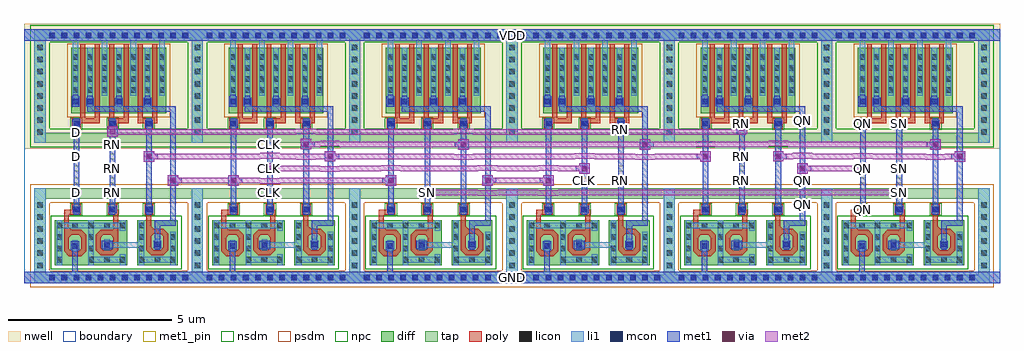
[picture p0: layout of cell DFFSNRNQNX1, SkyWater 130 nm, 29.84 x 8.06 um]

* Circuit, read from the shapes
.subckt DFFSNRNQNX1 CLK D GND QN RN SN VDD
XM1 n1 D GND GND sky130_fd_pr__nfet_01v8 w=2.6 l=0.147
XM2 n1 RN n2 GND sky130_fd_pr__nfet_01v8 w=2.52 l=0.1481
XM3 n2 n3 n4 GND sky130_fd_pr__nfet_01v8 w=2.56 l=0.1466
XM4 n5 n4 GND GND sky130_fd_pr__nfet_01v8 w=2.6 l=0.148
XM5 n5 CLK n6 GND sky130_fd_pr__nfet_01v8 w=2.52 l=0.1477
XM6 n6 n7 n3 GND sky130_fd_pr__nfet_01v8 w=2.56 l=0.1467
XM7 n8 n4 GND GND sky130_fd_pr__nfet_01v8 w=2.6 l=0.1474
XM8 n8 SN n9 GND sky130_fd_pr__nfet_01v8 w=2.52 l=0.1481
XM9 n9 n7 n10 GND sky130_fd_pr__nfet_01v8 w=2.56 l=0.1466
XM10 n11 n10 GND GND sky130_fd_pr__nfet_01v8 w=2.6 l=0.1474
XM11 n11 CLK n12 GND sky130_fd_pr__nfet_01v8 w=2.52 l=0.1476
XM12 n12 RN n7 GND sky130_fd_pr__nfet_01v8 w=2.56 l=0.1466
XM13 n13 n3 GND GND sky130_fd_pr__nfet_01v8 w=2.6 l=0.1473
XM14 n13 RN n14 GND sky130_fd_pr__nfet_01v8 w=2.52 l=0.1481
XM15 n14 n15 QN GND sky130_fd_pr__nfet_01v8 w=2.56 l=0.1466
XM16 n16 QN GND GND sky130_fd_pr__nfet_01v8 w=2.6 l=0.1474
XM17 n16 SN n17 GND sky130_fd_pr__nfet_01v8 w=2.52 l=0.148
XM18 n17 n7 n15 GND sky130_fd_pr__nfet_01v8 w=2.56 l=0.1466
XM19 n4 D VDD VDD sky130_fd_pr__pfet_01v8 w=2 l=0.15 m=2
XM20 n4 RN VDD VDD sky130_fd_pr__pfet_01v8 w=2 l=0.15 m=2
XM21 n4 n3 VDD VDD sky130_fd_pr__pfet_01v8 w=2 l=0.15 m=2
XM22 n3 n4 VDD VDD sky130_fd_pr__pfet_01v8 w=2 l=0.15 m=2
XM23 n3 CLK VDD VDD sky130_fd_pr__pfet_01v8 w=2 l=0.15 m=2
XM24 n3 n7 VDD VDD sky130_fd_pr__pfet_01v8 w=2 l=0.15 m=2
XM25 n10 n4 VDD VDD sky130_fd_pr__pfet_01v8 w=2 l=0.15 m=2
XM26 n10 SN VDD VDD sky130_fd_pr__pfet_01v8 w=2 l=0.15 m=2
XM27 n10 n7 VDD VDD sky130_fd_pr__pfet_01v8 w=2 l=0.15 m=2
XM28 n7 n10 VDD VDD sky130_fd_pr__pfet_01v8 w=2 l=0.15 m=2
XM29 n7 CLK VDD VDD sky130_fd_pr__pfet_01v8 w=2 l=0.15 m=2
XM30 n7 RN VDD VDD sky130_fd_pr__pfet_01v8 w=2 l=0.15 m=2
XM31 QN n3 VDD VDD sky130_fd_pr__pfet_01v8 w=2 l=0.15 m=2
XM32 QN RN VDD VDD sky130_fd_pr__pfet_01v8 w=2 l=0.15 m=2
XM33 QN n15 VDD VDD sky130_fd_pr__pfet_01v8 w=2 l=0.15 m=2
XM34 n15 QN VDD VDD sky130_fd_pr__pfet_01v8 w=2 l=0.15 m=2
XM35 n15 SN VDD VDD sky130_fd_pr__pfet_01v8 w=2 l=0.15 m=2
XM36 n15 n7 VDD VDD sky130_fd_pr__pfet_01v8 w=2 l=0.15 m=2
.ends

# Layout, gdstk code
from math import pi, radians
import gdstk
lib = gdstk.Library(unit=1e-6, precision=1e-09)
def R(c, l, rs):  # rectangles x0, y0, x1, y1
    for r in rs: c.add(gdstk.rectangle(r[:2], r[2:], *l))
def A(c, l, x, y, w, h, nx, ny, dx, dy):  # array of equal rectangles
    R(c, l, [(x+i*dx, y+j*dy, x+i*dx+w, y+j*dy+h) for i in range(nx) for j in range(ny)])
def P(c, l, *ps):  # polygons
    for p in ps: c.add(gdstk.Polygon(p, *l))
nwell = (64, 20)
diff = (65, 20)
tap = (65, 44)
poly = (66, 20)
licon = (66, 44)
li1 = (67, 20)
mcon = (67, 44)
met1_pin = (68, 16)
met1 = (68, 20)
via = (68, 44)
met2 = (69, 20)
nsdm = (93, 44)
psdm = (94, 20)
npc = (95, 20)
boundary = (235, 4)

li1_m1_contact = lib.new_cell('li1_M1_contact')
R(li1_m1_contact, li1, [(-0.085,-0.165,0.085,0.165)])
R(li1_m1_contact, mcon, [(-0.085,-0.085,0.085,0.085)])
R(li1_m1_contact, met1, [(-0.115,-0.115,0.115,-0.085), (-0.265,-0.085,0.145,0.085), (-0.115,0.085,0.115,0.115)])

diff_ring_side = lib.new_cell('diff_ring_side')
R(diff_ring_side, nwell, [(-0.435,3.93,0.435,7.75)])
R(diff_ring_side, tap, [(-0.17,-0.17,0.17,2.72), (-0.17,4.11,0.17,7.57)])
A(diff_ring_side, licon, -0.085, 0.285, 0.17, 0.17, 1, 6, 0, 0.37)
A(diff_ring_side, licon, -0.085, 4.355, 0.17, 0.17, 1, 8, 0, 0.37)
R(diff_ring_side, li1, [(-0.17,-0.17,0.17,2.72), (-0.17,4.11,0.17,7.57)])
R(diff_ring_side, met1, [(-0.17,-0.17,0.17,0.17), (-0.17,7.23,0.17,7.57)])
R(diff_ring_side, nsdm, [(-0.295,3.985,0.295,7.695)])
R(diff_ring_side, psdm, [(-0.295,-0.295,0.295,2.845)])

nmos_bottom = lib.new_cell('nmos_bottom')
R(nmos_bottom, diff, [(0,0,1.24,1.38)])
R(nmos_bottom, poly, [(0.43,0.27,0.81,0.42), (0.28,0.42,0.43,0.925), (0.81,0.42,0.96,0.925), (0.43,0.925,0.96,1.075), (0.81,1.075,0.96,1.51)])
P(nmos_bottom, poly, [(0.73,1.075),(0.81,1.075),(0.81,1.155)],
  [(0.28,0.925),(0.43,0.925),(0.43,1.075)],
  [(0.43,0.845),(0.43,0.925),(0.51,0.925)],
  [(0.73,0.925),(0.81,0.925),(0.81,0.845)],
  [(0.43,0.5),(0.43,0.42),(0.51,0.42)],
  [(0.73,0.42),(0.81,0.42),(0.81,0.5)],
  [(0.28,0.42),(0.43,0.42),(0.43,0.27)],
  [(0.81,0.27),(0.81,0.42),(0.96,0.42)])
A(nmos_bottom, licon, 0.05, 1.13, 0.17, 0.17, 3, 1, 0.485, 0)
R(nmos_bottom, licon, [(0.05,0.08,0.22,0.25), (1.02,0.08,1.19,0.25), (0.05,0.43,0.22,0.6), (1.02,0.43,1.19,0.6), (0.535,0.505,0.705,0.675), (0.05,0.77,0.22,0.94), (1.02,0.77,1.19,0.94)])
R(nmos_bottom, li1, [(0.05,0,0.22,1.13), (1.02,0,1.19,1.13), (0.535,0.425,0.705,0.755), (0.05,1.13,1.19,1.3), (0.05,1.3,0.22,1.38), (1.02,1.3,1.19,1.38)])
R(nmos_bottom, nsdm, [(-0.125,-0.125,1.365,1.505)])

pmos2 = lib.new_cell('pmos2')
R(pmos2, nwell, [(0.26,-2.18,1.76,0.18)])
R(pmos2, diff, [(0.44,-2,1.58,0)])
R(pmos2, poly, [(0.72,-2.305,1.31,-2.155), (0.72,-2.155,0.87,0.13), (1.16,-2.155,1.31,0.13)])
A(pmos2, licon, 0.49, -1.38, 0.17, 0.17, 3, 4, 0.44, 0.34)
R(pmos2, li1, [(0.49,-1.465,0.66,0.21), (0.93,-1.465,1.1,0), (1.37,-1.465,1.54,0.21)])
R(pmos2, psdm, [(0.315,-2.125,1.705,0.125)])

poly_li1_contact = lib.new_cell('poly_li1_contact')
R(poly_li1_contact, poly, [(-0.16,-0.14,0.17,0.13)])
R(poly_li1_contact, licon, [(-0.08,-0.09,0.09,0.08)])
R(poly_li1_contact, li1, [(-0.16,-0.09,0.17,0.08)])
R(poly_li1_contact, npc, [(-0.18,-0.19,0.19,0.18)])

nmos_side_left = lib.new_cell('nmos_side_left')
R(nmos_side_left, diff, [(0,0,1.24,1.38)])
R(nmos_side_left, poly, [(0.435,0.305,0.81,0.455), (0.285,0.455,0.435,0.925), (0.81,0.455,0.96,0.925), (0.435,0.925,0.96,1.075), (0.81,1.075,0.96,1.51)])
P(nmos_side_left, poly, [(0.285,0.925),(0.435,0.925),(0.435,1.075)],
  [(0.435,0.845),(0.435,0.925),(0.515,0.925)],
  [(0.73,0.925),(0.81,0.925),(0.81,0.845)],
  [(0.435,0.535),(0.435,0.455),(0.515,0.455)],
  [(0.73,0.455),(0.81,0.455),(0.81,0.535)],
  [(0.285,0.455),(0.435,0.455),(0.435,0.305)],
  [(0.81,0.305),(0.81,0.455),(0.96,0.455)])
A(nmos_side_left, licon, 0.05, 0.08, 0.17, 0.17, 3, 2, 0.485, 1.05)
R(nmos_side_left, licon, [(0.05,0.43,0.22,0.6), (0.54,0.535,0.71,0.705), (0.05,0.77,0.22,0.94)])
R(nmos_side_left, li1, [(0.05,0,0.22,0.08), (1.02,0,1.19,0.08), (0.05,0.08,1.19,0.25), (0.05,0.25,0.22,1.13), (1.02,0.25,1.19,0.33), (0.54,0.455,0.71,0.785), (1.02,1.05,1.19,1.13), (0.05,1.13,1.19,1.3), (0.05,1.3,0.22,1.38), (1.02,1.3,1.19,1.38)])
R(nmos_side_left, nsdm, [(-0.125,-0.125,1.365,1.505)])

nmos_top_trim1 = lib.new_cell('nmos_top_trim1')
R(nmos_top_trim1, diff, [(0,0,1.24,1.38)])
R(nmos_top_trim1, poly, [(0.43,0.31,0.81,0.46), (0.28,0.46,0.43,0.965), (0.81,0.46,0.96,0.965), (0.43,0.965,0.96,1.115), (0.81,1.115,0.96,1.545)])
P(nmos_top_trim1, poly, [(0.73,1.115),(0.81,1.115),(0.81,1.195)],
  [(0.28,0.965),(0.43,0.965),(0.43,1.115)],
  [(0.43,0.885),(0.43,0.965),(0.51,0.965)],
  [(0.73,0.965),(0.81,0.965),(0.81,0.885)],
  [(0.43,0.54),(0.43,0.46),(0.51,0.46)],
  [(0.73,0.46),(0.81,0.46),(0.81,0.54)],
  [(0.28,0.46),(0.43,0.46),(0.43,0.31)],
  [(0.81,0.31),(0.81,0.46),(0.96,0.46)])
A(nmos_top_trim1, licon, 0.05, 0.08, 0.17, 0.17, 3, 1, 0.485, 0)
R(nmos_top_trim1, licon, [(0.05,0.43,0.22,0.6), (1.02,0.43,1.19,0.6), (0.535,0.55,0.705,0.72), (0.05,0.77,0.22,0.94), (1.02,0.77,1.19,0.94), (1.02,1.13,1.19,1.3)])
R(nmos_top_trim1, li1, [(0.05,0,0.22,0.08), (1.02,0,1.19,0.08), (0.05,0.08,1.19,0.25), (0.05,0.25,0.22,1.02), (1.02,0.25,1.19,1.38), (0.535,0.47,0.705,0.805)])
R(nmos_top_trim1, nsdm, [(-0.125,-0.125,1.365,1.505)])

nand3x1_pcell = lib.new_cell('nand3x1_pcell')
R(nand3x1_pcell, nwell, [(0.435,3.93,4.375,5.28), (0.435,5.28,1.1,5.295), (1.395,5.28,4.375,5.495), (0.435,5.295,1.025,5.465), (1.145,5.295,1.315,5.465), (0.435,5.465,1.1,5.495), (0.435,5.495,4.375,7.75)])
A(nand3x1_pcell, diff, 1.445, 5.295, 0.17, 0.17, 3, 1, 0.88, 0)
R(nand3x1_pcell, diff, [(1.005,5.295,1.175,5.465)])
R(nand3x1_pcell, tap, [(0.17,-0.17,4.64,0.085), (0.17,2.41,4.64,2.72), (0.17,4.11,4.64,4.42), (0.17,7.315,4.64,7.57)])
R(nand3x1_pcell, poly, [(0.735,1.885,0.885,1.915), (2.235,1.885,2.385,1.915), (0.735,1.915,0.975,2.065), (2.355,1.915,2.385,2.065)])
A(nand3x1_pcell, licon, 0.285, -0.085, 0.17, 0.17, 12, 2, 0.37, 7.4)
A(nand3x1_pcell, licon, 1.445, 5.295, 0.17, 0.17, 3, 1, 0.88, 0)
R(nand3x1_pcell, licon, [(1.005,5.295,1.175,5.465)])
A(nand3x1_pcell, li1, 1.025, 1.995, 0.17, 0.17, 3, 2, 1.11, 2.62)
R(nand3x1_pcell, li1, [(0.17,-0.17,4.65,0.17), (0.99,0.88,1.16,1.05), (1.965,0.91,3.015,1.08), (3.5,0.925,3.67,1.095), (1.005,5.215,1.175,5.6), (1.445,5.215,1.615,5.56), (2.325,5.215,2.495,5.585), (3.205,5.215,3.375,5.56), (0.07,7.23,4.715,7.57)])
A(nand3x1_pcell, mcon, 0.285, -0.085, 0.17, 0.17, 12, 2, 0.37, 7.4)
A(nand3x1_pcell, mcon, 1.025, 1.995, 0.17, 0.17, 3, 2, 1.11, 2.62)
A(nand3x1_pcell, mcon, 1.445, 5.295, 0.17, 0.17, 3, 1, 0.88, 0)
R(nand3x1_pcell, mcon, [(0.99,0.88,1.16,1.05), (1.965,0.91,2.135,1.08), (3.5,0.925,3.67,1.095), (1.005,5.295,1.175,5.465)])
A(nand3x1_pcell, met1, 1.025, 1.915, 0.17, 0.04, 3, 1, 1.11, 0)
A(nand3x1_pcell, met1, 1.445, 5.495, 0.17, 0.06, 3, 1, 0.88, 0)
R(nand3x1_pcell, met1, [(0.17,-0.17,4.64,0.17), (0.99,0.17,1.16,0.835), (0.945,0.835,1.205,1.11), (1.89,0.865,2.225,1.115), (3.5,0.865,3.67,0.895), (3.47,0.895,3.7,1.125), (3.5,1.125,3.67,1.58), (3.5,1.58,4.155,1.75), (3.985,1.75,4.155,5.07), (0.995,1.955,1.225,2.195), (2.105,1.955,2.34,2.195), (3.215,1.955,3.445,2.195), (1.025,2.195,1.195,4.575), (2.135,2.195,2.305,4.585), (3.245,2.195,3.415,4.57), (3.215,4.57,3.445,4.815), (0.99,4.575,1.23,4.835), (2.105,4.585,2.335,4.815), (2.135,4.815,2.305,4.845), (3.245,4.815,3.415,4.845), (1.025,4.835,1.195,4.845), (1.445,5.07,4.155,5.24), (0.965,5.215,1.205,5.535), (1.415,5.24,1.65,5.495), (2.29,5.24,2.53,5.495), (3.175,5.24,3.405,5.495), (1.005,5.535,1.175,5.58), (0.17,7.23,4.64,7.57)])
R(nand3x1_pcell, nsdm, [(2.79,0.25,2.84,1.88), (0.045,3.985,4.765,4.545), (0.045,7.19,4.765,7.695)])
R(nand3x1_pcell, psdm, [(0.045,-0.295,4.765,0.21), (0.045,2.285,4.765,2.845), (0.88,5.17,1.74,5.59), (2.2,5.17,2.62,5.59), (3.08,5.17,3.5,5.59)])
nand3x1_pcell.add(gdstk.Reference(diff_ring_side, (0,0)))
nand3x1_pcell.add(gdstk.Reference(nmos_bottom, (1.695,0.375), rotation=pi, x_reflection=True))
nand3x1_pcell.add(gdstk.Reference(pmos2, (0.515,7.02)))
nand3x1_pcell.add(gdstk.Reference(poly_li1_contact, (1.115,4.705), rotation=3*pi/2))
nand3x1_pcell.add(gdstk.Reference(poly_li1_contact, (1.105,2.075), rotation=pi/2))
nand3x1_pcell.add(gdstk.Reference(nmos_side_left, (1.425,0.375)))
nand3x1_pcell.add(gdstk.Reference(pmos2, (1.395,7.02)))
nand3x1_pcell.add(gdstk.Reference(pmos2, (2.275,7.02)))
nand3x1_pcell.add(gdstk.Reference(poly_li1_contact, (2.215,2.075), rotation=pi/2))
nand3x1_pcell.add(gdstk.Reference(poly_li1_contact, (2.215,4.695), rotation=pi/2))
nand3x1_pcell.add(gdstk.Reference(nmos_top_trim1, (4.205,0.375), rotation=pi, x_reflection=True))
nand3x1_pcell.add(gdstk.Reference(poly_li1_contact, (3.325,2.075), rotation=pi/2))
nand3x1_pcell.add(gdstk.Reference(poly_li1_contact, (3.335,4.705), rotation=3*pi/2))
nand3x1_pcell.add(gdstk.Reference(diff_ring_side, (4.81,0)))

dffsnrnqnx1 = lib.new_cell('DFFSNRNQNX1')
R(dffsnrnqnx1, nwell, [(0,4.11,29.84,4.405), (0,4.405,21.79,4.44), (21.83,4.405,29.84,4.5), (0,4.44,2.94,4.47), (2.96,4.44,21.79,4.445), (2.96,4.445,18.435,4.47), (18.475,4.445,21.79,4.485), (0,4.47,18.435,4.485), (0,4.485,21.79,4.5), (0,4.5,29.84,7.94)])
R(dffsnrnqnx1, tap, [(0.32,0,29.52,0.06), (0.32,7.75,29.52,7.76)])
R(dffsnrnqnx1, li1, [(0,0,29.84,0.35), (0,7.41,29.84,7.76)])
A(dffsnrnqnx1, met1_pin, 1.515, 2.685, 0.17, 0.17, 1, 6, 0, 0.37)
A(dffsnrnqnx1, met1_pin, 2.625, 2.685, 0.17, 0.17, 3, 1, 4.81, 0)
A(dffsnrnqnx1, met1_pin, 26.675, 2.685, 0.17, 0.17, 1, 3, 0, 0.37)
A(dffsnrnqnx1, met1_pin, 2.625, 3.055, 0.17, 0.17, 1, 5, 0, 0.37)
A(dffsnrnqnx1, met1_pin, 21.865, 3.055, 0.17, 0.17, 3, 2, 1.85, 0.37)
R(dffsnrnqnx1, met1_pin, [(0,0,29.84,0.35), (25.565,2.175,25.735,2.345), (23.715,2.315,23.885,2.485), (17.055,3.055,17.225,3.225), (18.165,3.055,18.335,3.225), (7.435,3.425,7.605,3.595), (17.055,3.425,17.225,3.595), (18.165,3.425,18.335,3.595), (21.865,3.795,22.035,3.965), (7.435,4.165,7.605,4.335), (23.715,4.535,23.885,4.705), (18.165,4.615,18.335,4.785), (21.865,4.795,22.035,4.965), (25.565,4.795,25.735,4.965), (26.675,4.795,26.845,4.965), (23.715,4.905,23.885,5.075), (0,7.41,29.84,7.76)])
A(dffsnrnqnx1, met1, 1.515, 2.685, 0.17, 0.17, 1, 6, 0, 0.37)
A(dffsnrnqnx1, met1, 2.625, 2.685, 0.17, 0.17, 1, 5, 0, 0.37)
A(dffsnrnqnx1, met1, 6.25, 2.98, 0.32, 0.32, 3, 1, 4.81, 0)
A(dffsnrnqnx1, met1, 21.865, 3.055, 0.17, 0.17, 3, 1, 1.85, 0)
R(dffsnrnqnx1, met1, [(0,0,29.84,0.35), (23.715,2.315,23.885,2.485), (25.565,2.315,25.735,2.485), (26.6,2.61,26.92,2.93), (12.17,2.615,12.49,2.935), (7.435,2.685,7.605,2.855), (4.4,2.985,4.72,3.305), (14.015,2.985,14.335,3.305), (17.055,3.055,17.225,3.225), (18.165,3.055,18.335,3.225), (16.98,3.345,17.3,3.665), (25.49,3.35,25.81,3.67), (7.36,3.355,7.68,3.675), (23.64,3.355,23.96,3.675), (18.165,3.425,18.335,3.595), (21.865,3.425,22.035,3.595), (3.66,3.72,3.98,4.04), (20.675,3.72,20.995,4.04), (28.45,3.72,28.77,4.04), (9.2,3.725,9.52,4.045), (22.9,3.725,23.22,4.045), (21.865,3.795,22.035,3.965), (18.83,4.085,19.15,4.405), (27.71,4.085,28.03,4.405), (13.28,4.09,13.6,4.41), (8.46,4.095,8.78,4.415), (7.435,4.165,7.605,4.335), (2.55,4.475,2.87,4.795), (21.865,4.535,22.035,4.575), (23.715,4.535,23.885,4.705), (25.565,4.535,25.735,4.705), (18.085,4.565,18.405,4.885), (21.785,4.575,22.105,4.895), (23.715,4.905,23.885,5.075), (0,7.41,29.84,7.76)])
A(dffsnrnqnx1, via, 6.335, 3.065, 0.15, 0.15, 3, 1, 4.81, 0)
R(dffsnrnqnx1, via, [(26.685,2.695,26.835,2.845), (12.255,2.7,12.405,2.85), (4.485,3.07,4.635,3.22), (14.1,3.07,14.25,3.22), (17.065,3.43,17.215,3.58), (25.575,3.435,25.725,3.585), (7.445,3.44,7.595,3.59), (23.725,3.44,23.875,3.59), (3.745,3.805,3.895,3.955), (20.76,3.805,20.91,3.955), (28.535,3.805,28.685,3.955), (9.285,3.81,9.435,3.96), (22.985,3.81,23.135,3.96), (18.915,4.17,19.065,4.32), (27.795,4.17,27.945,4.32), (13.365,4.175,13.515,4.325), (8.545,4.18,8.695,4.33), (2.635,4.56,2.785,4.71), (18.17,4.65,18.32,4.8), (21.87,4.66,22.02,4.81)])
R(dffsnrnqnx1, met2, [(26.6,2.61,26.92,2.685), (12.17,2.615,12.49,2.685), (15.73,2.67,16.33,2.685), (13.875,2.675,14.475,2.685), (12.17,2.685,26.92,2.84), (12.17,2.84,15.73,2.845), (16.33,2.84,26.92,2.855), (12.17,2.845,13.875,2.855), (14.475,2.845,15.73,2.855), (12.17,2.855,12.49,2.935), (26.6,2.855,26.92,2.93), (6.25,2.98,6.57,3.06), (11.06,2.98,11.38,3.06), (15.87,2.98,16.19,3.055), (4.4,2.985,4.72,3.06), (14.015,2.985,14.335,3.055), (7.22,3.045,7.82,3.06), (14.015,3.055,16.19,3.225), (4.4,3.06,11.38,3.215), (4.4,3.215,7.22,3.23), (7.82,3.215,11.38,3.23), (14.015,3.225,14.335,3.305), (15.87,3.225,16.19,3.3), (4.4,3.23,4.72,3.305), (6.25,3.23,6.57,3.3), (11.06,3.23,11.38,3.3), (16.98,3.345,17.3,3.425), (25.49,3.35,25.81,3.425), (7.36,3.355,7.68,3.425), (23.64,3.355,23.96,3.425), (9.06,3.415,9.66,3.425), (7.36,3.425,10.92,3.44), (11.52,3.425,13.875,3.44), (14.475,3.425,15.73,3.44), (16.33,3.425,17.3,3.44), (23.64,3.425,25.81,3.595), (7.36,3.44,13.875,3.445), (14.475,3.44,17.3,3.445), (7.36,3.445,17.3,3.585), (7.36,3.585,9.06,3.595), (9.66,3.585,17.3,3.595), (7.36,3.595,7.68,3.675), (10.92,3.595,11.52,3.61), (13.875,3.595,14.475,3.615), (15.73,3.595,16.33,3.61), (16.98,3.595,17.3,3.665), (23.64,3.595,23.96,3.675), (25.49,3.595,25.81,3.67), (3.66,3.72,3.98,3.795), (20.675,3.72,20.995,3.795), (28.45,3.72,28.77,3.795), (9.2,3.725,9.52,3.795), (22.9,3.725,23.22,3.795), (18.69,3.775,19.29,3.795), (27.57,3.775,28.17,3.795), (13.14,3.78,13.74,3.795), (8.32,3.785,8.92,3.795), (3.66,3.795,7.22,3.815), (7.82,3.795,16.84,3.805), (17.445,3.795,20.995,3.805), (22.9,3.795,23.5,3.815), (24.1,3.795,25.35,3.81), (25.95,3.795,28.77,3.81), (7.82,3.805,20.995,3.815), (24.1,3.81,28.77,3.815), (3.66,3.815,20.995,3.945), (22.9,3.815,28.77,3.945), (3.66,3.945,18.69,3.95), (19.29,3.945,20.995,3.965), (22.9,3.945,27.57,3.965), (28.17,3.945,28.77,3.965), (3.66,3.95,13.14,3.955), (13.74,3.95,18.69,3.965), (3.66,3.955,8.32,3.965), (8.92,3.955,13.14,3.965), (3.66,3.965,3.98,4.04), (7.22,3.965,7.82,3.985), (9.2,3.965,9.52,4.045), (16.84,3.965,17.445,3.975), (20.675,3.965,20.995,4.04), (22.9,3.965,23.22,4.045), (23.5,3.965,24.1,3.985), (25.35,3.965,25.95,3.98), (28.45,3.965,28.77,4.04), (18.83,4.085,19.15,4.165), (27.71,4.085,28.03,4.165), (13.28,4.09,13.6,4.165), (8.46,4.095,8.78,4.165), (8.46,4.165,9.06,4.185), (9.66,4.165,20.535,4.18), (21.135,4.165,22.76,4.18), (23.36,4.165,28.03,4.185), (9.66,4.18,22.76,4.185), (8.46,4.185,28.03,4.335), (8.46,4.335,8.78,4.415), (9.06,4.335,9.66,4.355), (13.28,4.335,13.6,4.41), (18.83,4.335,19.15,4.405), (20.535,4.335,21.135,4.35), (22.76,4.335,23.36,4.355), (27.71,4.335,28.03,4.405), (2.55,4.475,2.87,4.535), (2.55,4.535,8.32,4.555), (8.92,4.535,13.14,4.55), (13.74,4.535,18.69,4.545), (19.29,4.535,22.075,4.545), (13.74,4.545,22.075,4.55), (8.92,4.55,22.075,4.555), (2.55,4.555,22.075,4.575), (2.55,4.575,22.105,4.705), (2.55,4.705,2.87,4.795), (8.32,4.705,8.92,4.725), (13.14,4.705,13.74,4.72), (18.085,4.705,18.405,4.885), (18.69,4.705,19.29,4.715), (21.785,4.705,22.105,4.895)])
R(dffsnrnqnx1, nsdm, [(0.195,7.625,29.645,7.885)])
R(dffsnrnqnx1, psdm, [(0.195,-0.125,29.645,0.185)])
R(dffsnrnqnx1, boundary, [(0,0,29.84,7.76)])
dffsnrnqnx1.add(gdstk.Reference(li1_m1_contact, (3.82,3.88), rotation=pi))
dffsnrnqnx1.add(gdstk.Reference(li1_m1_contact, (4.56,3.145), rotation=pi))
dffsnrnqnx1.add(gdstk.Reference(nand3x1_pcell, (0.49,0.18)))
dffsnrnqnx1.add(gdstk.Reference(nand3x1_pcell, (5.3,0.18)))
dffsnrnqnx1.add(gdstk.Reference(li1_m1_contact, (8.625,4.25), rotation=pi))
dffsnrnqnx1.add(gdstk.Reference(li1_m1_contact, (6.41,3.145), rotation=pi))
dffsnrnqnx1.add(gdstk.Reference(li1_m1_contact, (7.52,3.51), rotation=pi))
dffsnrnqnx1.add(gdstk.Reference(li1_m1_contact, (9.37,3.88), rotation=pi))
dffsnrnqnx1.add(gdstk.Reference(li1_m1_contact, (11.22,3.145)))
dffsnrnqnx1.add(gdstk.Reference(nand3x1_pcell, (10.11,0.18)))
dffsnrnqnx1.add(gdstk.Reference(li1_m1_contact, (13.44,4.25)))
dffsnrnqnx1.add(gdstk.Reference(li1_m1_contact, (12.33,2.775), rotation=pi))
dffsnrnqnx1.add(gdstk.Reference(li1_m1_contact, (14.18,3.14), rotation=pi))
dffsnrnqnx1.add(gdstk.Reference(li1_m1_contact, (17.14,3.51)))
dffsnrnqnx1.add(gdstk.Reference(li1_m1_contact, (16.03,3.14)))
dffsnrnqnx1.add(gdstk.Reference(nand3x1_pcell, (14.92,0.18)))
dffsnrnqnx1.add(gdstk.Reference(li1_m1_contact, (18.99,4.25), rotation=pi))
dffsnrnqnx1.add(gdstk.Reference(li1_m1_contact, (20.84,3.88)))
dffsnrnqnx1.add(gdstk.Reference(nand3x1_pcell, (19.73,0.18)))
dffsnrnqnx1.add(gdstk.Reference(li1_m1_contact, (23.06,3.88), rotation=pi))
dffsnrnqnx1.add(gdstk.Reference(li1_m1_contact, (23.8,3.51), rotation=pi))
dffsnrnqnx1.add(gdstk.Reference(li1_m1_contact, (27.87,4.25)))
dffsnrnqnx1.add(gdstk.Reference(li1_m1_contact, (25.65,3.51)))
dffsnrnqnx1.add(gdstk.Reference(li1_m1_contact, (26.76,2.77)))
dffsnrnqnx1.add(gdstk.Reference(li1_m1_contact, (28.61,3.88)))
dffsnrnqnx1.add(gdstk.Reference(nand3x1_pcell, (24.54,0.18)))
dffsnrnqnx1.add(gdstk.Label('QN', (25.65,2.26), layer=68, texttype=5))
dffsnrnqnx1.add(gdstk.Label('QN', (25.65,4.88), layer=68, texttype=5))
dffsnrnqnx1.add(gdstk.Label('QN', (25.65,3.51), layer=68, texttype=5))
dffsnrnqnx1.add(gdstk.Label('QN', (25.65,3.14), layer=68, texttype=5))
dffsnrnqnx1.add(gdstk.Label('QN', (23.8,4.99), layer=68, texttype=5))
dffsnrnqnx1.add(gdstk.Label('QN', (23.8,4.62), layer=68, texttype=5))
dffsnrnqnx1.add(gdstk.Label('QN', (23.8,2.4), layer=68, texttype=5))
dffsnrnqnx1.add(gdstk.Label('QN', (23.8,3.14), layer=68, texttype=5))
dffsnrnqnx1.add(gdstk.Label('QN', (23.8,3.51), layer=68, texttype=5))
dffsnrnqnx1.add(gdstk.Label('D', (1.6,2.77), layer=68, texttype=5))
dffsnrnqnx1.add(gdstk.Label('D', (1.6,4.62), layer=68, texttype=5))
dffsnrnqnx1.add(gdstk.Label('D', (1.6,4.25), layer=68, texttype=5))
dffsnrnqnx1.add(gdstk.Label('D', (1.6,3.88), layer=68, texttype=5))
dffsnrnqnx1.add(gdstk.Label('D', (1.6,3.51), layer=68, texttype=5))
dffsnrnqnx1.add(gdstk.Label('D', (1.6,3.14), layer=68, texttype=5))
dffsnrnqnx1.add(gdstk.Label('CLK', (17.14,3.14), layer=68, texttype=5))
dffsnrnqnx1.add(gdstk.Label('CLK', (17.14,3.51), layer=68, texttype=5))
dffsnrnqnx1.add(gdstk.Label('CLK', (7.52,4.25), layer=68, texttype=5))
dffsnrnqnx1.add(gdstk.Label('CLK', (7.52,2.77), layer=68, texttype=5))
dffsnrnqnx1.add(gdstk.Label('CLK', (7.52,3.51), layer=68, texttype=5))
dffsnrnqnx1.add(gdstk.Label('SN', (26.76,4.88), layer=68, texttype=5))
dffsnrnqnx1.add(gdstk.Label('SN', (26.76,3.51), layer=68, texttype=5))
dffsnrnqnx1.add(gdstk.Label('SN', (26.76,3.14), layer=68, texttype=5))
dffsnrnqnx1.add(gdstk.Label('SN', (26.76,2.77), layer=68, texttype=5))
dffsnrnqnx1.add(gdstk.Label('SN', (12.33,2.77), layer=68, texttype=5))
dffsnrnqnx1.add(gdstk.Label('RN', (21.95,4.88), layer=68, texttype=5))
dffsnrnqnx1.add(gdstk.Label('RN', (18.25,4.7), layer=68, texttype=5))
dffsnrnqnx1.add(gdstk.Label('RN', (21.95,3.88), layer=68, texttype=5))
dffsnrnqnx1.add(gdstk.Label('RN', (21.95,3.51), layer=68, texttype=5))
dffsnrnqnx1.add(gdstk.Label('RN', (21.95,3.14), layer=68, texttype=5))
dffsnrnqnx1.add(gdstk.Label('RN', (18.25,3.14), layer=68, texttype=5))
dffsnrnqnx1.add(gdstk.Label('RN', (18.25,3.51), layer=68, texttype=5))
dffsnrnqnx1.add(gdstk.Label('RN', (2.71,2.77), layer=68, texttype=5))
dffsnrnqnx1.add(gdstk.Label('RN', (2.71,3.14), layer=68, texttype=5))
dffsnrnqnx1.add(gdstk.Label('RN', (2.71,3.51), layer=68, texttype=5))
dffsnrnqnx1.add(gdstk.Label('RN', (2.71,3.88), layer=68, texttype=5))
dffsnrnqnx1.add(gdstk.Label('RN', (2.71,4.25), layer=68, texttype=5))
dffsnrnqnx1.add(gdstk.Label('RN', (2.71,4.62), layer=68, texttype=5))
dffsnrnqnx1.add(gdstk.Label('VDD', (14.92,7.585), layer=68, texttype=5))
dffsnrnqnx1.add(gdstk.Label('GND', (14.92,0.175), layer=68, texttype=5))

lib.write_gds('DFFSNRNQNX1.gds')
